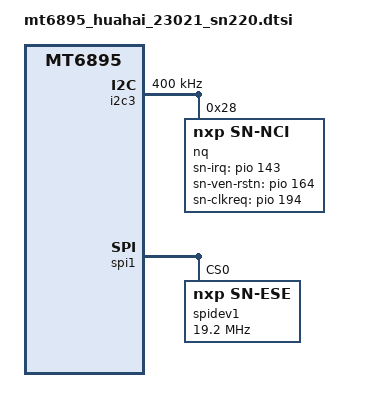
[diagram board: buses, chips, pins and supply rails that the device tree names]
/**********************************************************************************
* Copyright (c)  2008-2020  Guangdong oplus Mobile Comm Corp., Ltd
*
***********************************************************************************/
&odm {
	nfc_chipset:nfc_chipset {
		compatible = "oplus-nfc-chipset";
		chipset-23021 = "SN220T";
	};
};

&clock_buffer_ctrl {
	mediatek,xo-bbck4 = <1>;
};

&i2c3 {
       status = "okay";
       clock-frequency = <400000>;
       nq@28 {
               compatible = "nxp,sn-nci";
               reg = <0x28>;
               nxp,sn-irq = <&pio 143 0x0>;
               nxp,sn-ven-rstn = <&pio 164 0x0>;
               nxp,sn-clkreq = <&pio 194 0x0>;
               interrupt-parent = <&pio>;
       };
};

&spi1 {
       status = "okay";
       #address-cells = <1>;
       #size-cells = <0>;
       spidev1: p61@1 {
       compatible = "nxp,sn-ese";
       reg = <0>;
       spi-max-frequency = <19200000>;
       nxp,nfcc = "3-0028";
       };
};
